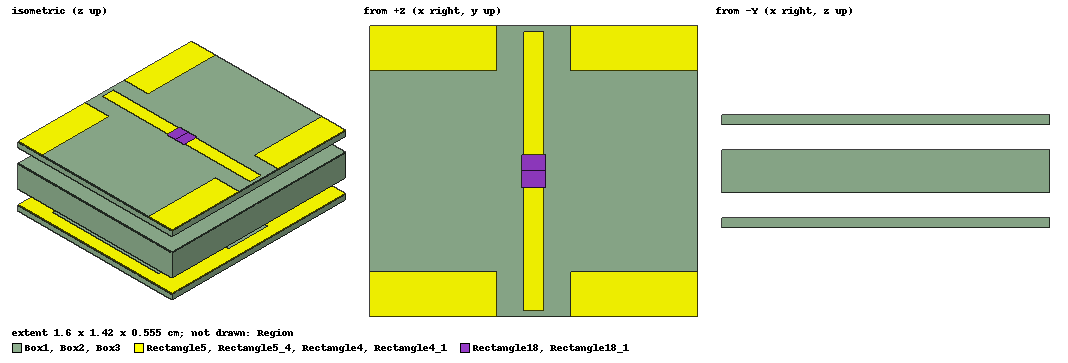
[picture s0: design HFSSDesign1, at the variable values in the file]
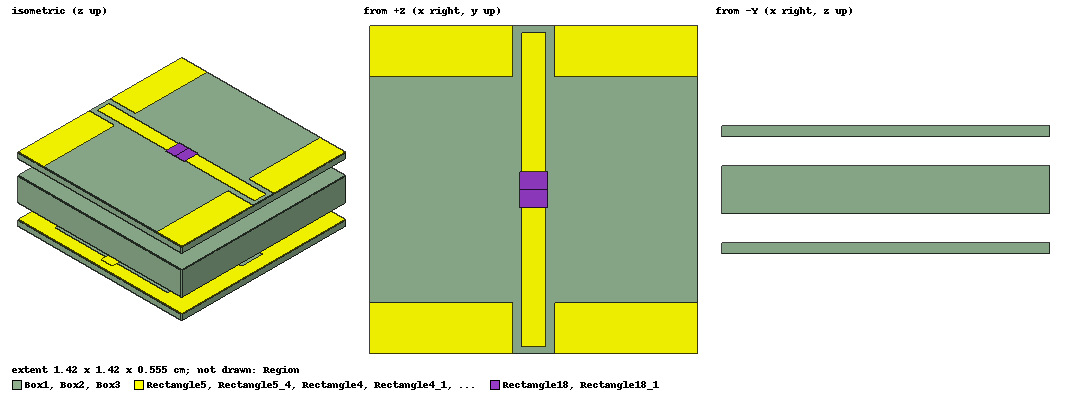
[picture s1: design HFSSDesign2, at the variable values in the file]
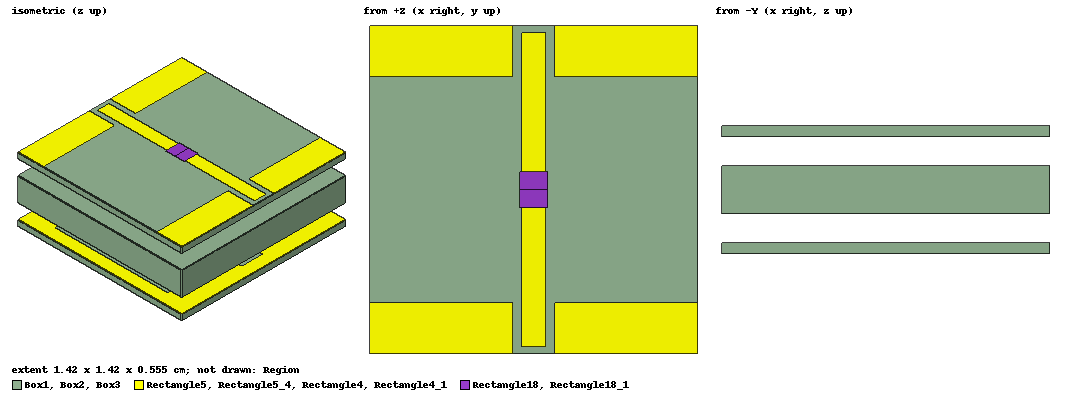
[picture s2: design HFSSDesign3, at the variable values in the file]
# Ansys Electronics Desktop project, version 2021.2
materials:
  vacuum: permittivity=1
  Arlon DiClad 880 (tm): permittivity=2.2 dielectric_loss_tangent=0.0009
  PTFT: permittivity=2.2 dielectric_loss_tangent=0.0019
  air: permittivity=1.0006 permeability=1.0000004
  F4B: permittivity=2.2 dielectric_loss_tangent=0.002

design HFSSDesign1 (HFSS, DrivenModal, model units cm)
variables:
  P_X = 16mm
  P_Y = 14.2mm
  MIDDLE_THICK = 2.05mm
  TOP_THICK = 0.5mm
  BOTTOM_THICK = 0.5mm
  PATCH_MIDDLE_X = 14mm
  PATCH_MIDDLE_Y = 10mm
  MIDDLE_GND = 0.2mm
  MIDDLE_RCL_LENGTH = 0.65mm
  MIDDLE_RCL_WIDTH = 0.6mm
  top_line_x = 1mm
  top_line_y = 6mm
  top_line_x1 = 6mm
  top_line_y1 = 1mm
  top_patch_x = 6.2mm
  top_patch_y = 2.2mm
  top_gnd = 1mm
  bottom_line_x = 1mm
  bottom_line_y = 6mm
  bottom_line_x1 = 6mm
  bottom_line_y1 = 1mm
  bottom_patch_x = 6.2mm
  bottom_patch_y = 2.2mm
  bottom_gnd = 1mm
  top_high = 1.25mm
  bottom_high = 1.25mm
  top_rcl_length = 1.6mm
  top_rcl_width = 1.2mm
  bottom_rcl_length = 1.6mm
  bottom_rcl_width = 1.2mm
  R_TOP = 1ohm
  L_TOP = 1.5nH
  C_TOP = 0pF
  R_MIDDLE = 0.7ohm
  L_MIDDLE = 1.61nH
  C_MIDDLE = 0pF
  R_BOTTOM = 1ohm
  L_BOTTOM = 1.5nH
  C_BOTTOM = 0pF
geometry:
  Box1 [F4B] = box(corner=(-P_X/2, -P_Y/2, -MIDDLE_THICK/2), size=(P_X, P_Y, MIDDLE_THICK))
  Box2 [F4B] = box(corner=(-P_X/2, -P_Y/2, MIDDLE_THICK/2+top_high), size=(P_X, P_Y, TOP_THICK))
  Box3 [F4B] = box(corner=(-P_X/2, -P_Y/2, -MIDDLE_THICK/2-bottom_high), size=(P_X, P_Y, -TOP_THICK))
  Rectangle1 = rectangle(corner=(-PATCH_MIDDLE_X/2, -PATCH_MIDDLE_Y/2, -MIDDLE_THICK/2), x_size=PATCH_MIDDLE_X, y_size=PATCH_MIDDLE_Y)
  Rectangle2 = rectangle(corner=(-P_X/2, -P_Y/2, -MIDDLE_THICK/2), x_size=P_X, y_size=P_Y)
  Rectangle3 = rectangle(corner=(-(P_X-MIDDLE_GND*2)/2, -(P_Y-MIDDLE_GND*2)/2, -MIDDLE_THICK/2), x_size=P_X-MIDDLE_GND*2, y_size=P_Y-MIDDLE_GND*2)
  Rectangle2.subtract(Rectangle3)
  Rectangle4 = rectangle(corner=(-top_line_x/2, top_rcl_length/2, MIDDLE_THICK/2+top_high+TOP_THICK), x_size=top_line_x, y_size=top_line_y)
  Rectangle4_1 = Rectangle4.duplicate_mirror(point=(0cm, 0cm, 0cm), normal=(0cm, -1cm, 0cm))
  Rectangle5 = rectangle(corner=(P_X/2-top_patch_x, P_Y/2-top_patch_y, MIDDLE_THICK/2+top_high+TOP_THICK), x_size=top_patch_x, y_size=top_patch_y)
  Rectangle5_1 = Rectangle5.duplicate_mirror(point=(0cm, 0cm, 0cm), normal=(0cm, -1cm, 0cm))
  Rectangle5_2 = Rectangle5.duplicate_mirror(point=(0cm, 0cm, 0cm), normal=(-1cm, 0cm, 0cm))
  Rectangle5_1_1 = Rectangle5_1.duplicate_mirror(point=(0cm, 0cm, 0cm), normal=(-1cm, 0cm, 0cm))
  Rectangle5.unite(Rectangle5_1, Rectangle5_1_1, Rectangle5_2)
  Rectangle5_3 = Rectangle5.duplicate_along_line(step=(0cm, 0cm, -0.05cm), total=2)
  Rectangle6 = rectangle(corner=(-P_X/2, -P_Y/2, MIDDLE_THICK/2+top_high), x_size=P_X, y_size=P_Y)
  Rectangle7 = rectangle(corner=(-(P_X-top_gnd*2)/2, -(P_Y-top_gnd*2)/2, MIDDLE_THICK/2+top_high), x_size=P_X-top_gnd*2, y_size=P_Y-top_gnd*2)
  Rectangle6.subtract(Rectangle7)
  Rectangle5_3.unite(Rectangle6)
  Rectangle8 = rectangle(corner=(0.5mm, -top_line_y1/2, MIDDLE_THICK/2+top_high), x_size=top_line_x1, y_size=top_line_y1)
  Rectangle8_1 = Rectangle8.duplicate_mirror(point=(0cm, 0cm, 0cm), normal=(-1cm, 0cm, 0cm))
  Rectangle9 = rectangle(corner=(0.5mm, -bottom_line_y1/2, -MIDDLE_THICK/2-bottom_high), x_size=bottom_line_x1, y_size=bottom_line_y1)
  Rectangle10 = rectangle(corner=(P_X/2-bottom_patch_x, P_Y/2-bottom_patch_y, -MIDDLE_THICK/2-bottom_high+BOTTOM_THICK), x_size=bottom_patch_x, y_size=bottom_patch_y)
  Rectangle5_5 = Rectangle10.duplicate_mirror(point=(0cm, 0cm, 0cm), normal=(0cm, -1cm, 0cm))
  Rectangle5_6 = Rectangle10.duplicate_mirror(point=(0cm, 0cm, 0cm), normal=(-1cm, 0cm, 0cm))
  Rectangle5_1_2 = Rectangle5_5.duplicate_mirror(point=(0cm, 0cm, 0cm), normal=(-1cm, 0cm, 0cm))
  Rectangle10.unite(Rectangle5_5, Rectangle5_1_2, Rectangle5_6)
  Rectangle5_4 = Rectangle10.duplicate_along_line(step=(0cm, 0cm, -0.05cm), total=2)
  Rectangle10.delete()
  Rectangle11 = rectangle(corner=(-P_X/2, -P_Y/2, -MIDDLE_THICK/2-bottom_high), x_size=P_X, y_size=P_Y)
  Rectangle12 = rectangle(corner=(-(P_X-bottom_gnd*2)/2, -(P_Y-bottom_gnd*2)/2, -MIDDLE_THICK/2-bottom_high), x_size=P_X-bottom_gnd*2, y_size=P_Y-bottom_gnd*2)
  Rectangle11.subtract(Rectangle12)
  Rectangle5_4.unite(Rectangle11)
  Rectangle13 = rectangle(corner=(P_X/2-bottom_patch_x, P_Y/2-bottom_patch_y, -MIDDLE_THICK/2-bottom_high-BOTTOM_THICK), x_size=bottom_patch_x, y_size=bottom_patch_y)
  Rectangle5_7 = Rectangle13.duplicate_mirror(point=(0cm, 0cm, 0cm), normal=(0cm, -1cm, 0cm))
  Rectangle5_8 = Rectangle13.duplicate_mirror(point=(0cm, 0cm, 0cm), normal=(-1cm, 0cm, 0cm))
  Rectangle5_1_3 = Rectangle5_7.duplicate_mirror(point=(0cm, 0cm, 0cm), normal=(-1cm, 0cm, 0cm))
  Rectangle13.unite(Rectangle5_7, Rectangle5_1_3, Rectangle5_8)
  Rectangle14 = rectangle(corner=(-bottom_line_x/2, bottom_rcl_length/2, -MIDDLE_THICK/2-bottom_high-BOTTOM_THICK), x_size=bottom_line_x, y_size=bottom_line_y)
  Rectangle14_1 = Rectangle14.duplicate_mirror(point=(0cm, 0cm, 0cm), normal=(0cm, -1cm, 0cm))
  Rectangle9_1 = Rectangle9.duplicate_mirror(point=(0cm, 0cm, 0cm), normal=(-1cm, 0cm, 0cm))
  Rectangle15 = rectangle(corner=(-MIDDLE_RCL_WIDTH/2, PATCH_MIDDLE_Y/2, -MIDDLE_THICK/2), x_size=MIDDLE_RCL_WIDTH, y_size=MIDDLE_RCL_LENGTH)
  Rectangle16 = rectangle(corner=(-MIDDLE_RCL_WIDTH/2, PATCH_MIDDLE_Y/2+MIDDLE_RCL_LENGTH, -MIDDLE_THICK/2), x_size=MIDDLE_RCL_WIDTH, y_size=P_Y/2-PATCH_MIDDLE_Y/2-MIDDLE_RCL_LENGTH-MIDDLE_GND)
  Rectangle17 = rectangle(corner=(-MIDDLE_RCL_WIDTH/2, -PATCH_MIDDLE_Y/2, -MIDDLE_THICK/2), x_size=MIDDLE_RCL_WIDTH, y_size=-MIDDLE_RCL_LENGTH)
  Rectangle16_1 = Rectangle16.duplicate_mirror(point=(0cm, 0cm, 0cm), normal=(0cm, -1cm, 0cm))
  Rectangle18 = rectangle(corner=(-top_rcl_width/2, 0cm, MIDDLE_THICK/2+top_high+TOP_THICK), x_size=top_rcl_width, y_size=top_rcl_length/2)
  Rectangle18_1 = Rectangle18.duplicate_mirror(point=(0cm, 0cm, 0cm), normal=(0cm, -1cm, 0cm))
  Rectangle18_2 = Rectangle18.duplicate_mirror(point=(0cm, 0cm, 0cm), normal=(0cm, 0cm, -1cm))
  Rectangle18_1_1 = Rectangle18_1.duplicate_mirror(point=(0cm, 0cm, 0cm), normal=(0cm, 0cm, -1cm))
  Region [vacuum] = region(absolute_offset: +X=0cm, -X=0cm, +Y=0cm, -Y=0cm, +Z=6cm, -Z=6cm)
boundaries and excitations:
  PerfE1: Perfect E Objects=[Rectangle14_1, Rectangle1, Rectangle2, Rectangle4, Rectangle4_1, Rectangle5, Rectangle5_3, Rectangle5_4, Rectangle8, Rectangle8_1, Rectangle9, Rectangle9_1, Rectangle13, Rectangle14]
  LumpRLC1: Lumped RLC Objects=Rectangle18_1 CurrentLine{middle of Rectangle18_1.edge(3 of 4) -> middle of Rectangle18_1.edge(1 of 4)} RLC_Type=Parallel Resistance=R_TOP Capacitance=C_TOP
  LumpRLC2: Lumped RLC Objects=Rectangle18 CurrentLine{middle of Rectangle18.edge(y at corner) -> middle of Rectangle18.edge(y opposite corner)} RLC_Type=Parallel Inductance=L_TOP
  LumpRLC3: Lumped RLC Objects=Rectangle18_1_1 CurrentLine{middle of Rectangle18_1_1.edge(3 of 4) -> middle of Rectangle18_1_1.edge(1 of 4)} RLC_Type=Parallel Resistance=R_BOTTOM Capacitance=C_BOTTOM
  LumpRLC4: Lumped RLC Objects=Rectangle18_2 CurrentLine{middle of Rectangle18_2.edge(1 of 4) -> middle of Rectangle18_2.edge(3 of 4)} RLC_Type=Parallel Inductance=L_BOTTOM
  LumpRLC5: Lumped RLC Objects=Rectangle15 CurrentLine{middle of Rectangle15.edge(y at corner) -> middle of Rectangle15.edge(y opposite corner)} RLC_Type=Serial Resistance=R_MIDDLE Inductance=L_MIDDLE Capacitance=C_MIDDLE
  LumpRLC6: Lumped RLC Objects=Rectangle17 CurrentLine{middle of Rectangle17.edge(y at corner) -> middle of Rectangle17.edge(y opposite corner)} RLC_Type=Serial Resistance=R_MIDDLE Inductance=L_MIDDLE Capacitance=C_MIDDLE
  PerfE2: Perfect E Objects=[Rectangle16, Rectangle16_1]
  Primary1: Primary Faces=Region.face(+y) CoordSysVector{Region.vertex(3 of 8) -> Region.vertex(2 of 8)} ReverseV
  Secondary1: Secondary Faces=Region.face(-y) CoordSysVector{Region.vertex(4 of 8) -> Region.vertex(1 of 8)} primary=Primary1 PhaseDelay=UseScanAngle Phi=0deg Theta=0deg
  Primary2: Primary Faces=Region.face(+x) CoordSysVector{Region.vertex(1 of 8) -> Region.vertex(2 of 8)}
  Secondary2: Secondary Faces=Region.face(-x) CoordSysVector{Region.vertex(4 of 8) -> Region.vertex(3 of 8)} ReverseV primary=Primary2 PhaseDelay=UseScanAngle Phi=0deg Theta=0deg
  FloquetPort1: Floquet Port Faces=Region.face(+z) NumModes=2 DeembedDist=6cm Modes{Mode1{CharImp=Zpi} Mode2{CharImp=Zpi}} PhaseDelay=UseScanAngle Phi=0deg Theta=0deg LatticeAVector{Region.vertex(4 of 8) -> Region.vertex(1 of 8)} LatticeBVector{Region.vertex(4 of 8) -> Region.vertex(3 of 8)} ModesList{Mode{ModeNumber=1 IndexM=0 IndexN=0 KC2=0 PropagationState=Propagating Attenuation=0 PolarizationState=TE AffectsRefinement} Mode{ModeNumber=2 IndexM=0 IndexN=0 KC2=0 PropagationState=Propagating Attenuation=0 PolarizationState=TM AffectsRefinement}}
  FloquetPort2: Floquet Port Faces=Region.face(-z) NumModes=2 DeembedDist=6cm Modes{Mode1{CharImp=Zpi} Mode2{CharImp=Zpi}} PhaseDelay=UseScanAngle Phi=0deg Theta=0deg LatticeAVector{Region.vertex(7 of 8) -> Region.vertex(6 of 8)} LatticeBVector{Region.vertex(7 of 8) -> Region.vertex(8 of 8)} ModesList{Mode{ModeNumber=1 IndexM=0 IndexN=0 KC2=0 PropagationState=Propagating Attenuation=0 PolarizationState=TE AffectsRefinement} Mode{ModeNumber=2 IndexM=0 IndexN=0 KC2=0 PropagationState=Propagating Attenuation=0 PolarizationState=TM AffectsRefinement}}
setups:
  Setup1: HfssDrivenAuto AutoSolverSetting=Balanced Type=Interpolating
    sweep Sweep: 1GHz to 10GHz step 0.02GHz;
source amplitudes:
  FloquetPort1:1: 1W 0deg
  FloquetPort1:2, FloquetPort2:1, FloquetPort2:2: 0W 0deg
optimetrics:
  ParametricSetup1: Parametric Sim._Setups=[Setup1]
    sweep R_TOP: 1ohm 3000ohm
    sweep C_TOP: 0pF 0.2pF
    sweep R_BOTTOM: 1ohm 3000ohm
    sweep C_BOTTOM: 0pF 0.2pF
    sweep R_MIDDLE: 0.7ohm 1.41ohm
    sweep L_MIDDLE: 1.61nH 1.39nH
    sweep C_MIDDLE: 0pF 0.41pF
    table edits: del(3000ohm, 0pF, 3000ohm, 0.2pF, 1.41ohm, 1.39nH, 0.41pF) del(3000ohm, 0pF, 3000ohm, 0.2pF, 1.41ohm, 1.39nH, 0pF) del(3000ohm, 0pF, 3000ohm, 0.2pF, 1.41ohm, 1.61nH, 0.41pF) del(3000ohm, 0pF, 3000ohm, 0.2pF, 1.41ohm, 1.61nH, 0pF) del(3000ohm, 0pF, 3000ohm, 0.2pF, 0.7ohm, 1.39nH, 0.41pF) del(3000ohm, 0pF, 3000ohm, 0.2pF, 0.7ohm, 1.39nH, 0pF) del(3000ohm, 0pF, 3000ohm, 0.2pF, 0.7ohm, 1.61nH, 0.41pF) del(3000ohm, 0pF, 3000ohm, 0.2pF, 0.7ohm, 1.61nH, 0pF) del(3000ohm, 0pF, 3000ohm, 0pF, 1.41ohm, 1.39nH, 0.41pF) del(3000ohm, 0pF, 3000ohm, 0pF, 1.41ohm, 1.39nH, 0pF) del(3000ohm, 0pF, 3000ohm, 0pF, 1.41ohm, 1.61nH, 0.41pF) del(3000ohm, 0pF, 3000ohm, 0pF, 1.41ohm, 1.61nH, 0pF) del(3000ohm, 0pF, 3000ohm, 0pF, 0.7ohm, 1.39nH, 0.41pF) del(3000ohm, 0pF, 3000ohm, 0pF, 0.7ohm, 1.39nH, 0pF) del(3000ohm, 0pF, 3000ohm, 0pF, 0.7ohm, 1.61nH, 0.41pF) del(3000ohm, 0pF, 3000ohm, 0pF, 0.7ohm, 1.61nH, 0pF) del(3000ohm, 0pF, 1ohm, 0.2pF, 1.41ohm, 1.39nH, 0.41pF) del(3000ohm, 0pF, 1ohm, 0.2pF, 1.41ohm, 1.39nH, 0pF) del(3000ohm, 0pF, 1ohm, 0.2pF, 1.41ohm, 1.61nH, 0.41pF) del(3000ohm, 0pF, 1ohm, 0.2pF, 1.41ohm, 1.61nH, 0pF) del(3000ohm, 0pF, 1ohm, 0.2pF, 0.7ohm, 1.39nH, 0.41pF) del(3000ohm, 0pF, 1ohm, 0.2pF, 0.7ohm, 1.39nH, 0pF) del(3000ohm, 0pF, 1ohm, 0.2pF, 0.7ohm, 1.61nH, 0.41pF) del(3000ohm, 0pF, 1ohm, 0.2pF, 0.7ohm, 1.61nH, 0pF) del(3000ohm, 0pF, 1ohm, 0pF, 1.41ohm, 1.39nH, 0.41pF) del(3000ohm, 0pF, 1ohm, 0pF, 1.41ohm, 1.39nH, 0pF) del(3000ohm, 0pF, 1ohm, 0pF, 1.41ohm, 1.61nH, 0.41pF) del(3000ohm, 0pF, 1ohm, 0pF, 1.41ohm, 1.61nH, 0pF) del(3000ohm, 0pF, 1ohm, 0pF, 0.7ohm, 1.39nH, 0.41pF) del(3000ohm, 0pF, 1ohm, 0pF, 0.7ohm, 1.39nH, 0pF) del(3000ohm, 0pF, 1ohm, 0pF, 0.7ohm, 1.61nH, 0.41pF) del(3000ohm, 0pF, 1ohm, 0pF, 0.7ohm, 1.61nH, 0pF) del(1ohm, 0.2pF, 3000ohm, 0.2pF, 1.41ohm, 1.39nH, 0.41pF) del(1ohm, 0.2pF, 3000ohm, 0.2pF, 1.41ohm, 1.39nH, 0pF) del(1ohm, 0.2pF, 3000ohm, 0.2pF, 1.41ohm, 1.61nH, 0.41pF) del(1ohm, 0.2pF, 3000ohm, 0.2pF, 1.41ohm, 1.61nH, 0pF) del(1ohm, 0.2pF, 3000ohm, 0.2pF, 0.7ohm, 1.39nH, 0.41pF) del(1ohm, 0.2pF, 3000ohm, 0.2pF, 0.7ohm, 1.39nH, 0pF) del(1ohm, 0.2pF, 3000ohm, 0.2pF, 0.7ohm, 1.61nH, 0.41pF) del(1ohm, 0.2pF, 3000ohm, 0.2pF, 0.7ohm, 1.61nH, 0pF) del(1ohm, 0.2pF, 3000ohm, 0pF, 1.41ohm, 1.39nH, 0.41pF) del(1ohm, 0.2pF, 3000ohm, 0pF, 1.41ohm, 1.39nH, 0pF) del(1ohm, 0.2pF, 3000ohm, 0pF, 1.41ohm, 1.61nH, 0.41pF) del(1ohm, 0.2pF, 3000ohm, 0pF, 1.41ohm, 1.61nH, 0pF) del(1ohm, 0.2pF, 3000ohm, 0pF, 0.7ohm, 1.39nH, 0.41pF) del(1ohm, 0.2pF, 3000ohm, 0pF, 0.7ohm, 1.39nH, 0pF) del(1ohm, 0.2pF, 3000ohm, 0pF, 0.7ohm, 1.61nH, 0.41pF) del(1ohm, 0.2pF, 3000ohm, 0pF, 0.7ohm, 1.61nH, 0pF) del(1ohm, 0.2pF, 1ohm, 0.2pF, 1.41ohm, 1.39nH, 0.41pF) del(1ohm, 0.2pF, 1ohm, 0.2pF, 1.41ohm, 1.39nH, 0pF) del(1ohm, 0.2pF, 1ohm, 0.2pF, 1.41ohm, 1.61nH, 0.41pF) del(1ohm, 0.2pF, 1ohm, 0.2pF, 1.41ohm, 1.61nH, 0pF) del(1ohm, 0.2pF, 1ohm, 0.2pF, 0.7ohm, 1.39nH, 0.41pF) del(1ohm, 0.2pF, 1ohm, 0.2pF, 0.7ohm, 1.39nH, 0pF) del(1ohm, 0.2pF, 1ohm, 0.2pF, 0.7ohm, 1.61nH, 0.41pF) del(1ohm, 0.2pF, 1ohm, 0.2pF, 0.7ohm, 1.61nH, 0pF) del(1ohm, 0.2pF, 1ohm, 0pF, 1.41ohm, 1.39nH, 0.41pF) del(1ohm, 0.2pF, 1ohm, 0pF, 1.41ohm, 1.39nH, 0pF) del(1ohm, 0.2pF, 1ohm, 0pF, 1.41ohm, 1.61nH, 0.41pF) del(1ohm, 0.2pF, 1ohm, 0pF, 1.41ohm, 1.61nH, 0pF)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
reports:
  S Parameter Plot 1: mag(S(FloquetPort1:1,FloquetPort2:1)) vs Freq on Setup1 : Sweep; markers MX1 at x=7.2987013e+08
  S Parameter Plot 2: ang_deg(S(FloquetPort1:1,FloquetPort2:1)) vs Freq on Setup1 : Sweep; markers MX1 at x=5.7995611e+09
  S Parameter Plot 3: mag(S(FloquetPort1:1,FloquetPort1:1)) vs Freq on Setup1 : Sweep; markers MX1 at x=5.8017916e+09
  S Parameter Plot 4: ang_deg(S(FloquetPort1:1,FloquetPort1:1)) vs Freq on Setup1 : Sweep
  S Parameter Plot 5: ang_deg(S(FloquetPort1:1,FloquetPort1:1)) vs Freq on Setup1 : Sweep
  S Parameter Plot 6: ang_deg(S(FloquetPort1:1,FloquetPort1:1)) vs Freq on Setup1 : Sweep

design HFSSDesign2 (HFSS, DrivenModal, model units cm)
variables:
  P_X = 14.2mm
  P_Y = 14.2mm
  MIDDLE_THICK = 2.05mm
  TOP_THICK = 0.5mm
  BOTTOM_THICK = 0.5mm
  PATCH_MIDDLE_X = 12mm
  PATCH_MIDDLE_Y = 10mm
  MIDDLE_GND = 0.2mm
  MIDDLE_RCL_LENGTH = 0.65mm
  MIDDLE_RCL_WIDTH = 0.6mm
  top_line_x = 1mm
  top_line_y = 6mm
  top_line_x1 = 6mm
  top_line_y1 = 1mm
  top_patch_x = 6.2mm
  top_patch_y = 2.2mm
  top_gnd = 1mm
  bottom_line_x = 1mm
  bottom_line_y = 6mm
  bottom_line_x1 = 6mm
  bottom_line_y1 = 1mm
  bottom_patch_x = 6.2mm
  bottom_patch_y = 2.2mm
  bottom_gnd = 1mm
  top_high = 1.25mm
  bottom_high = 1.25mm
  top_rcl_length = 1.6mm
  top_rcl_width = 1.2mm
  bottom_rcl_length = 1.6mm
  bottom_rcl_width = 1.2mm
  R_TOP = 1ohm
  L_TOP = 1.5nH
  C_TOP = 0pF
  R_MIDDLE = 0.7ohm
  L_MIDDLE = 1.61nH
  C_MIDDLE = 0pF
  R_BOTTOM = 1ohm
  L_BOTTOM = 1.5nH
  C_BOTTOM = 0pF
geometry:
  Box1 [F4B] = box(corner=(-P_X/2, -P_Y/2, -MIDDLE_THICK/2), size=(P_X, P_Y, MIDDLE_THICK))
  Box2 [F4B] = box(corner=(-P_X/2, -P_Y/2, MIDDLE_THICK/2+top_high), size=(P_X, P_Y, TOP_THICK))
  Box3 [F4B] = box(corner=(-P_X/2, -P_Y/2, -MIDDLE_THICK/2-bottom_high), size=(P_X, P_Y, -TOP_THICK))
  Rectangle1 = rectangle(corner=(-PATCH_MIDDLE_X/2, -PATCH_MIDDLE_Y/2, -MIDDLE_THICK/2), x_size=PATCH_MIDDLE_X, y_size=PATCH_MIDDLE_Y)
  Rectangle2 = rectangle(corner=(-P_X/2, -P_Y/2, -MIDDLE_THICK/2), x_size=P_X, y_size=P_Y)
  Rectangle3 = rectangle(corner=(-(P_X-MIDDLE_GND*2)/2, -(P_Y-MIDDLE_GND*2)/2, -MIDDLE_THICK/2), x_size=P_X-MIDDLE_GND*2, y_size=P_Y-MIDDLE_GND*2)
  Rectangle2.subtract(Rectangle3)
  Rectangle4 = rectangle(corner=(-top_line_x/2, top_rcl_length/2, MIDDLE_THICK/2+top_high+TOP_THICK), x_size=top_line_x, y_size=top_line_y)
  Rectangle4_1 = Rectangle4.duplicate_mirror(point=(0cm, 0cm, 0cm), normal=(0cm, -1cm, 0cm))
  Rectangle5 = rectangle(corner=(P_X/2-top_patch_x, P_Y/2-top_patch_y, MIDDLE_THICK/2+top_high+TOP_THICK), x_size=top_patch_x, y_size=top_patch_y)
  Rectangle5_1 = Rectangle5.duplicate_mirror(point=(0cm, 0cm, 0cm), normal=(0cm, -1cm, 0cm))
  Rectangle5_2 = Rectangle5.duplicate_mirror(point=(0cm, 0cm, 0cm), normal=(-1cm, 0cm, 0cm))
  Rectangle5_1_1 = Rectangle5_1.duplicate_mirror(point=(0cm, 0cm, 0cm), normal=(-1cm, 0cm, 0cm))
  Rectangle5.unite(Rectangle5_1, Rectangle5_1_1, Rectangle5_2)
  Rectangle5_3 = Rectangle5.duplicate_along_line(step=(0cm, 0cm, -0.05cm), total=2)
  Rectangle6 = rectangle(corner=(-P_X/2, -P_Y/2, MIDDLE_THICK/2+top_high), x_size=P_X, y_size=P_Y)
  Rectangle7 = rectangle(corner=(-(P_X-top_gnd*2)/2, -(P_Y-top_gnd*2)/2, MIDDLE_THICK/2+top_high), x_size=P_X-top_gnd*2, y_size=P_Y-top_gnd*2)
  Rectangle6.subtract(Rectangle7)
  Rectangle5_3.unite(Rectangle6)
  Rectangle8 = rectangle(corner=(0.5mm, -top_line_y1/2, MIDDLE_THICK/2+top_high), x_size=top_line_x1, y_size=top_line_y1)
  Rectangle8_1 = Rectangle8.duplicate_mirror(point=(0cm, 0cm, 0cm), normal=(-1cm, 0cm, 0cm))
  Rectangle9 = rectangle(corner=(0.5mm, -bottom_line_y1/2, -MIDDLE_THICK/2-bottom_high), x_size=bottom_line_x1, y_size=bottom_line_y1)
  Rectangle10 = rectangle(corner=(P_X/2-bottom_patch_x, P_Y/2-bottom_patch_y, -MIDDLE_THICK/2-bottom_high+BOTTOM_THICK), x_size=bottom_patch_x, y_size=bottom_patch_y)
  Rectangle5_5 = Rectangle10.duplicate_mirror(point=(0cm, 0cm, 0cm), normal=(0cm, -1cm, 0cm))
  Rectangle5_6 = Rectangle10.duplicate_mirror(point=(0cm, 0cm, 0cm), normal=(-1cm, 0cm, 0cm))
  Rectangle5_1_2 = Rectangle5_5.duplicate_mirror(point=(0cm, 0cm, 0cm), normal=(-1cm, 0cm, 0cm))
  Rectangle10.unite(Rectangle5_5, Rectangle5_1_2, Rectangle5_6)
  Rectangle5_4 = Rectangle10.duplicate_along_line(step=(0cm, 0cm, -0.05cm), total=2)
  Rectangle10.delete()
  Rectangle11 = rectangle(corner=(-P_X/2, -P_Y/2, -MIDDLE_THICK/2-bottom_high), x_size=P_X, y_size=P_Y)
  Rectangle12 = rectangle(corner=(-(P_X-bottom_gnd*2)/2, -(P_Y-bottom_gnd*2)/2, -MIDDLE_THICK/2-bottom_high), x_size=P_X-bottom_gnd*2, y_size=P_Y-bottom_gnd*2)
  Rectangle11.subtract(Rectangle12)
  Rectangle5_4.unite(Rectangle11)
  Rectangle13 = rectangle(corner=(P_X/2-bottom_patch_x, P_Y/2-bottom_patch_y, -MIDDLE_THICK/2-bottom_high-BOTTOM_THICK), x_size=bottom_patch_x, y_size=bottom_patch_y)
  Rectangle5_7 = Rectangle13.duplicate_mirror(point=(0cm, 0cm, 0cm), normal=(0cm, -1cm, 0cm))
  Rectangle5_8 = Rectangle13.duplicate_mirror(point=(0cm, 0cm, 0cm), normal=(-1cm, 0cm, 0cm))
  Rectangle5_1_3 = Rectangle5_7.duplicate_mirror(point=(0cm, 0cm, 0cm), normal=(-1cm, 0cm, 0cm))
  Rectangle13.unite(Rectangle5_7, Rectangle5_1_3, Rectangle5_8)
  Rectangle14 = rectangle(corner=(-bottom_line_x/2, bottom_rcl_length/2, -MIDDLE_THICK/2-bottom_high-BOTTOM_THICK), x_size=bottom_line_x, y_size=bottom_line_y)
  Rectangle14_1 = Rectangle14.duplicate_mirror(point=(0cm, 0cm, 0cm), normal=(0cm, -1cm, 0cm))
  Rectangle9_1 = Rectangle9.duplicate_mirror(point=(0cm, 0cm, 0cm), normal=(-1cm, 0cm, 0cm))
  Rectangle15 = rectangle(corner=(-MIDDLE_RCL_WIDTH/2, PATCH_MIDDLE_Y/2, -MIDDLE_THICK/2), x_size=MIDDLE_RCL_WIDTH, y_size=MIDDLE_RCL_LENGTH)
  Rectangle16 = rectangle(corner=(-MIDDLE_RCL_WIDTH/2, PATCH_MIDDLE_Y/2+MIDDLE_RCL_LENGTH, -MIDDLE_THICK/2), x_size=MIDDLE_RCL_WIDTH, y_size=P_Y/2-PATCH_MIDDLE_Y/2-MIDDLE_RCL_LENGTH-MIDDLE_GND)
  Rectangle17 = rectangle(corner=(-MIDDLE_RCL_WIDTH/2, -PATCH_MIDDLE_Y/2, -MIDDLE_THICK/2), x_size=MIDDLE_RCL_WIDTH, y_size=-MIDDLE_RCL_LENGTH)
  Rectangle16_1 = Rectangle16.duplicate_mirror(point=(0cm, 0cm, 0cm), normal=(0cm, -1cm, 0cm))
  Rectangle18 = rectangle(corner=(-top_rcl_width/2, 0cm, MIDDLE_THICK/2+top_high+TOP_THICK), x_size=top_rcl_width, y_size=top_rcl_length/2)
  Rectangle18_1 = Rectangle18.duplicate_mirror(point=(0cm, 0cm, 0cm), normal=(0cm, -1cm, 0cm))
  Rectangle18_2 = Rectangle18.duplicate_mirror(point=(0cm, 0cm, 0cm), normal=(0cm, 0cm, -1cm))
  Rectangle18_1_1 = Rectangle18_1.duplicate_mirror(point=(0cm, 0cm, 0cm), normal=(0cm, 0cm, -1cm))
  Region [vacuum] = region(absolute_offset: +X=0cm, -X=0cm, +Y=0cm, -Y=0cm, +Z=6cm, -Z=6cm)
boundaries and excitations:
  PerfE1: Perfect E Objects=[Rectangle14_1, Rectangle1, Rectangle2, Rectangle4, Rectangle4_1, Rectangle5, Rectangle5_3, Rectangle5_4, Rectangle8, Rectangle8_1, Rectangle9, Rectangle9_1, Rectangle13, Rectangle14]
  LumpRLC1: Lumped RLC Objects=Rectangle18_1 CurrentLine{middle of Rectangle18_1.edge(3 of 4) -> middle of Rectangle18_1.edge(1 of 4)} RLC_Type=Parallel Resistance=R_TOP Capacitance=C_TOP
  LumpRLC2: Lumped RLC Objects=Rectangle18 CurrentLine{middle of Rectangle18.edge(y at corner) -> middle of Rectangle18.edge(y opposite corner)} RLC_Type=Parallel Inductance=L_TOP
  LumpRLC3: Lumped RLC Objects=Rectangle18_1_1 CurrentLine{middle of Rectangle18_1_1.edge(3 of 4) -> middle of Rectangle18_1_1.edge(1 of 4)} RLC_Type=Parallel Resistance=R_BOTTOM Capacitance=C_BOTTOM
  LumpRLC4: Lumped RLC Objects=Rectangle18_2 CurrentLine{middle of Rectangle18_2.edge(1 of 4) -> middle of Rectangle18_2.edge(3 of 4)} RLC_Type=Parallel Inductance=L_BOTTOM
  LumpRLC5: Lumped RLC Objects=Rectangle15 CurrentLine{middle of Rectangle15.edge(y at corner) -> middle of Rectangle15.edge(y opposite corner)} RLC_Type=Serial Resistance=R_MIDDLE Inductance=L_MIDDLE Capacitance=C_MIDDLE
  LumpRLC6: Lumped RLC Objects=Rectangle17 CurrentLine{middle of Rectangle17.edge(y at corner) -> middle of Rectangle17.edge(y opposite corner)} RLC_Type=Serial Resistance=R_MIDDLE Inductance=L_MIDDLE Capacitance=C_MIDDLE
  PerfE2: Perfect E Objects=[Rectangle16, Rectangle16_1]
  Primary1: Primary Faces=Region.face(+y) CoordSysVector{Region.vertex(3 of 8) -> Region.vertex(2 of 8)} ReverseV
  Secondary1: Secondary Faces=Region.face(-y) CoordSysVector{Region.vertex(4 of 8) -> Region.vertex(1 of 8)} primary=Primary1 PhaseDelay=UseScanAngle Phi=0deg Theta=0deg
  Primary2: Primary Faces=Region.face(+x) CoordSysVector{Region.vertex(1 of 8) -> Region.vertex(2 of 8)}
  Secondary2: Secondary Faces=Region.face(-x) CoordSysVector{Region.vertex(4 of 8) -> Region.vertex(3 of 8)} ReverseV primary=Primary2 PhaseDelay=UseScanAngle Phi=0deg Theta=0deg
  FloquetPort1: Floquet Port Faces=Region.face(+z) NumModes=2 DeembedDist=6cm Modes{Mode1{CharImp=Zpi} Mode2{CharImp=Zpi}} PhaseDelay=UseScanAngle Phi=0deg Theta=0deg LatticeAVector{Region.vertex(4 of 8) -> Region.vertex(1 of 8)} LatticeBVector{Region.vertex(4 of 8) -> Region.vertex(3 of 8)} ModesList{Mode{ModeNumber=1 IndexM=0 IndexN=0 KC2=0 PropagationState=Propagating Attenuation=0 PolarizationState=TE AffectsRefinement} Mode{ModeNumber=2 IndexM=0 IndexN=0 KC2=0 PropagationState=Propagating Attenuation=0 PolarizationState=TM AffectsRefinement}}
  FloquetPort2: Floquet Port Faces=Region.face(-z) NumModes=2 DeembedDist=6cm Modes{Mode1{CharImp=Zpi} Mode2{CharImp=Zpi}} PhaseDelay=UseScanAngle Phi=0deg Theta=0deg LatticeAVector{Region.vertex(7 of 8) -> Region.vertex(6 of 8)} LatticeBVector{Region.vertex(7 of 8) -> Region.vertex(8 of 8)} ModesList{Mode{ModeNumber=1 IndexM=0 IndexN=0 KC2=0 PropagationState=Propagating Attenuation=0 PolarizationState=TE AffectsRefinement} Mode{ModeNumber=2 IndexM=0 IndexN=0 KC2=0 PropagationState=Propagating Attenuation=0 PolarizationState=TM AffectsRefinement}}
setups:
  Setup1: HfssDrivenAuto AutoSolverSetting=Balanced Type=Interpolating
    sweep Sweep: 1GHz to 10GHz step 0.02GHz;
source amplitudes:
  FloquetPort1:1: 1W 0deg
  FloquetPort1:2, FloquetPort2:1, FloquetPort2:2: 0W 0deg
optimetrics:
  ParametricSetup1: Parametric Sim._Setups=[Setup1]
    sweep R_MIDDLE: 0.7ohm 1.41ohm
    sweep L_MIDDLE: 1.61nH 1.39nH
    sweep C_MIDDLE: 0pF 0.41pF
    sweep R_TOP: 1ohm 3000ohm
    sweep C_TOP: 0pF 0.2pF
    sweep R_BOTTOM: 1ohm 3000ohm
    sweep C_BOTTOM: 0pF 0.2pF
    table edits: del(1.41ohm, 1.61nH, 0.41pF, 3000ohm, 0.2pF, 3000ohm, 0.2pF) del(1.41ohm, 1.61nH, 0.41pF, 3000ohm, 0.2pF, 3000ohm, 0pF) del(1.41ohm, 1.61nH, 0.41pF, 3000ohm, 0.2pF, 1ohm, 0.2pF) del(1.41ohm, 1.61nH, 0.41pF, 3000ohm, 0.2pF, 1ohm, 0pF) del(1.41ohm, 1.61nH, 0.41pF, 3000ohm, 0pF, 3000ohm, 0.2pF) del(1.41ohm, 1.61nH, 0.41pF, 3000ohm, 0pF, 3000ohm, 0pF) del(1.41ohm, 1.61nH, 0.41pF, 3000ohm, 0pF, 1ohm, 0.2pF) del(1.41ohm, 1.61nH, 0.41pF, 3000ohm, 0pF, 1ohm, 0pF) del(1.41ohm, 1.61nH, 0.41pF, 1ohm, 0.2pF, 3000ohm, 0.2pF) del(1.41ohm, 1.61nH, 0.41pF, 1ohm, 0.2pF, 3000ohm, 0pF) del(1.41ohm, 1.61nH, 0.41pF, 1ohm, 0.2pF, 1ohm, 0.2pF) del(1.41ohm, 1.61nH, 0.41pF, 1ohm, 0.2pF, 1ohm, 0pF) del(1.41ohm, 1.61nH, 0.41pF, 1ohm, 0pF, 3000ohm, 0.2pF) del(1.41ohm, 1.61nH, 0.41pF, 1ohm, 0pF, 3000ohm, 0pF) del(1.41ohm, 1.61nH, 0.41pF, 1ohm, 0pF, 1ohm, 0.2pF) del(1.41ohm, 1.61nH, 0.41pF, 1ohm, 0pF, 1ohm, 0pF) del(1.41ohm, 1.61nH, 0pF, 3000ohm, 0.2pF, 3000ohm, 0.2pF) del(1.41ohm, 1.61nH, 0pF, 3000ohm, 0.2pF, 3000ohm, 0pF) del(1.41ohm, 1.61nH, 0pF, 3000ohm, 0.2pF, 1ohm, 0.2pF) del(1.41ohm, 1.61nH, 0pF, 3000ohm, 0.2pF, 1ohm, 0pF) del(1.41ohm, 1.61nH, 0pF, 3000ohm, 0pF, 3000ohm, 0.2pF) del(1.41ohm, 1.61nH, 0pF, 3000ohm, 0pF, 3000ohm, 0pF) del(1.41ohm, 1.61nH, 0pF, 3000ohm, 0pF, 1ohm, 0.2pF) del(1.41ohm, 1.61nH, 0pF, 3000ohm, 0pF, 1ohm, 0pF) del(1.41ohm, 1.61nH, 0pF, 1ohm, 0.2pF, 3000ohm, 0.2pF) del(1.41ohm, 1.61nH, 0pF, 1ohm, 0.2pF, 3000ohm, 0pF) del(1.41ohm, 1.61nH, 0pF, 1ohm, 0.2pF, 1ohm, 0.2pF) del(1.41ohm, 1.61nH, 0pF, 1ohm, 0.2pF, 1ohm, 0pF) del(1.41ohm, 1.61nH, 0pF, 1ohm, 0pF, 3000ohm, 0.2pF) del(1.41ohm, 1.61nH, 0pF, 1ohm, 0pF, 3000ohm, 0pF) del(1.41ohm, 1.61nH, 0pF, 1ohm, 0pF, 1ohm, 0.2pF) del(1.41ohm, 1.61nH, 0pF, 1ohm, 0pF, 1ohm, 0pF) del(0.7ohm, 1.39nH, 0.41pF, 3000ohm, 0.2pF, 3000ohm, 0.2pF) del(0.7ohm, 1.39nH, 0.41pF, 3000ohm, 0.2pF, 3000ohm, 0pF) del(0.7ohm, 1.39nH, 0.41pF, 3000ohm, 0.2pF, 1ohm, 0.2pF) del(0.7ohm, 1.39nH, 0.41pF, 3000ohm, 0.2pF, 1ohm, 0pF) del(0.7ohm, 1.39nH, 0.41pF, 3000ohm, 0pF, 3000ohm, 0.2pF) del(0.7ohm, 1.39nH, 0.41pF, 3000ohm, 0pF, 3000ohm, 0pF) del(0.7ohm, 1.39nH, 0.41pF, 3000ohm, 0pF, 1ohm, 0.2pF) del(0.7ohm, 1.39nH, 0.41pF, 3000ohm, 0pF, 1ohm, 0pF) del(0.7ohm, 1.39nH, 0.41pF, 1ohm, 0.2pF, 3000ohm, 0.2pF) del(0.7ohm, 1.39nH, 0.41pF, 1ohm, 0.2pF, 3000ohm, 0pF) del(0.7ohm, 1.39nH, 0.41pF, 1ohm, 0.2pF, 1ohm, 0.2pF) del(0.7ohm, 1.39nH, 0.41pF, 1ohm, 0.2pF, 1ohm, 0pF) del(0.7ohm, 1.39nH, 0.41pF, 1ohm, 0pF, 3000ohm, 0.2pF) del(0.7ohm, 1.39nH, 0.41pF, 1ohm, 0pF, 3000ohm, 0pF) del(0.7ohm, 1.39nH, 0.41pF, 1ohm, 0pF, 1ohm, 0.2pF) del(0.7ohm, 1.39nH, 0.41pF, 1ohm, 0pF, 1ohm, 0pF) del(0.7ohm, 1.39nH, 0pF, 3000ohm, 0.2pF, 3000ohm, 0.2pF) del(0.7ohm, 1.39nH, 0pF, 3000ohm, 0.2pF, 3000ohm, 0pF) del(0.7ohm, 1.39nH, 0pF, 3000ohm, 0.2pF, 1ohm, 0.2pF) del(0.7ohm, 1.39nH, 0pF, 3000ohm, 0.2pF, 1ohm, 0pF) del(0.7ohm, 1.39nH, 0pF, 3000ohm, 0pF, 3000ohm, 0.2pF) del(0.7ohm, 1.39nH, 0pF, 3000ohm, 0pF, 3000ohm, 0pF) del(0.7ohm, 1.39nH, 0pF, 3000ohm, 0pF, 1ohm, 0.2pF) del(0.7ohm, 1.39nH, 0pF, 3000ohm, 0pF, 1ohm, 0pF) del(0.7ohm, 1.39nH, 0pF, 1ohm, 0.2pF, 3000ohm, 0.2pF) del(0.7ohm, 1.39nH, 0pF, 1ohm, 0.2pF, 3000ohm, 0pF) del(0.7ohm, 1.39nH, 0pF, 1ohm, 0.2pF, 1ohm, 0.2pF) del(0.7ohm, 1.39nH, 0pF, 1ohm, 0.2pF, 1ohm, 0pF)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
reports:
  S Parameter Plot 1: mag(S(FloquetPort1:1,FloquetPort2:1)) vs Freq on Setup1 : Sweep; markers MX1 at x=5.0028881e+09
  S Parameter Plot 2: ang_deg(S(FloquetPort1:1,FloquetPort2:1)) vs Freq on Setup1 : Sweep; markers MX1 at x=5.44e+09
  S Parameter Plot 3: mag(S(FloquetPort1:1,FloquetPort1:1)) vs Freq on Setup1 : Sweep; markers MX1 at x=5.44e+09
  S Parameter Plot 4: ang_deg(S(FloquetPort1:1,FloquetPort1:1)) vs Freq on Setup1 : Sweep; markers MX1 at x=5.443038e+09
  S Parameter Plot 5: mag(S(FloquetPort1:1,FloquetPort1:1)) vs Freq on Setup1 : Sweep [R_TOP=all C_TOP=all R_MIDDLE=all L_MIDDLE=all C_MIDDLE=all R_BOTTOM=all C_BOTTOM=all]
  S Parameter Plot 6: ang_deg(S(FloquetPort1:1,FloquetPort1:1)) vs Freq on Setup1 : Sweep [R_TOP=all C_TOP=all R_MIDDLE=all L_MIDDLE=all C_MIDDLE=all R_BOTTOM=all C_BOTTOM=all]
  S Parameter Plot 7: mag(S(FloquetPort1:1,FloquetPort2:1)) vs Freq on Setup1 : Sweep [R_TOP=all C_TOP=all R_MIDDLE=all L_MIDDLE=all C_MIDDLE=all R_BOTTOM=all C_BOTTOM=all]
  S Parameter Plot 8: ang_deg(S(FloquetPort1:1,FloquetPort2:1)) vs Freq on Setup1 : Sweep [R_TOP=all C_TOP=all R_MIDDLE=all L_MIDDLE=all C_MIDDLE=all R_BOTTOM=all C_BOTTOM=all]

design HFSSDesign3 (HFSS, DrivenModal, model units cm)
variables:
  P_X = 14.2mm
  P_Y = 14.2mm
  MIDDLE_THICK = 2.05mm
  TOP_THICK = 0.5mm
  BOTTOM_THICK = 0.5mm
  PATCH_MIDDLE_X = 12mm
  PATCH_MIDDLE_Y = 10mm
  MIDDLE_GND = 0.2mm
  MIDDLE_RCL_LENGTH = 0.65mm
  MIDDLE_RCL_WIDTH = 0.6mm
  top_line_x = 1mm
  top_line_y = 6mm
  top_line_x1 = 5mm
  top_line_y1 = 1mm
  top_patch_x = 6.2mm
  top_patch_y = 2.2mm
  top_gnd = 1mm
  bottom_line_x = 1mm
  bottom_line_y = 6mm
  bottom_line_x1 = 5mm
  bottom_line_y1 = 1mm
  bottom_patch_x = 6.2mm
  bottom_patch_y = 2.2mm
  bottom_gnd = 1mm
  top_high = 1.25mm
  bottom_high = 1.25mm
  top_rcl_length = 1.6mm
  top_rcl_width = 1.2mm
  bottom_rcl_length = 1.6mm
  bottom_rcl_width = 1.2mm
  R_TOP = 1ohm
  L_TOP = 1.5nH
  C_TOP = 0pF
  R_MIDDLE = 0.7ohm
  L_MIDDLE = 1.61nH
  C_MIDDLE = 0pF
  R_BOTTOM = 1ohm
  L_BOTTOM = 1.5nH
  C_BOTTOM = 0pF
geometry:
  Box1 [F4B] = box(corner=(-P_X/2, -P_Y/2, -MIDDLE_THICK/2), size=(P_X, P_Y, MIDDLE_THICK))
  Box2 [F4B] = box(corner=(-P_X/2, -P_Y/2, MIDDLE_THICK/2+top_high), size=(P_X, P_Y, TOP_THICK))
  Box3 [F4B] = box(corner=(-P_X/2, -P_Y/2, -MIDDLE_THICK/2-bottom_high), size=(P_X, P_Y, -TOP_THICK))
  Rectangle1 = rectangle(corner=(-PATCH_MIDDLE_X/2, -PATCH_MIDDLE_Y/2, -MIDDLE_THICK/2), x_size=PATCH_MIDDLE_X, y_size=PATCH_MIDDLE_Y)
  Rectangle2 = rectangle(corner=(-P_X/2, -P_Y/2, -MIDDLE_THICK/2), x_size=P_X, y_size=P_Y)
  Rectangle3 = rectangle(corner=(-(P_X-MIDDLE_GND*2)/2, -(P_Y-MIDDLE_GND*2)/2, -MIDDLE_THICK/2), x_size=P_X-MIDDLE_GND*2, y_size=P_Y-MIDDLE_GND*2)
  Rectangle2.subtract(Rectangle3)
  Rectangle4 = rectangle(corner=(-top_line_x/2, top_rcl_length/2, MIDDLE_THICK/2+top_high+TOP_THICK), x_size=top_line_x, y_size=top_line_y)
  Rectangle4_1 = Rectangle4.duplicate_mirror(point=(0cm, 0cm, 0cm), normal=(0cm, -1cm, 0cm))
  Rectangle5 = rectangle(corner=(P_X/2-top_patch_x, P_Y/2-top_patch_y, MIDDLE_THICK/2+top_high+TOP_THICK), x_size=top_patch_x, y_size=top_patch_y)
  Rectangle5_1 = Rectangle5.duplicate_mirror(point=(0cm, 0cm, 0cm), normal=(0cm, -1cm, 0cm))
  Rectangle5_2 = Rectangle5.duplicate_mirror(point=(0cm, 0cm, 0cm), normal=(-1cm, 0cm, 0cm))
  Rectangle5_1_1 = Rectangle5_1.duplicate_mirror(point=(0cm, 0cm, 0cm), normal=(-1cm, 0cm, 0cm))
  Rectangle5.unite(Rectangle5_1, Rectangle5_1_1, Rectangle5_2)
  Rectangle5_3 = Rectangle5.duplicate_along_line(step=(0cm, 0cm, -0.05cm), total=2)
  Rectangle6 = rectangle(corner=(-P_X/2, -P_Y/2, MIDDLE_THICK/2+top_high), x_size=P_X, y_size=P_Y)
  Rectangle7 = rectangle(corner=(-(P_X-top_gnd*2)/2, -(P_Y-top_gnd*2)/2, MIDDLE_THICK/2+top_high), x_size=P_X-top_gnd*2, y_size=P_Y-top_gnd*2)
  Rectangle6.subtract(Rectangle7)
  Rectangle5_3.unite(Rectangle6)
  Rectangle10 = rectangle(corner=(P_X/2-bottom_patch_x, P_Y/2-bottom_patch_y, -MIDDLE_THICK/2-bottom_high+BOTTOM_THICK), x_size=bottom_patch_x, y_size=bottom_patch_y)
  Rectangle5_5 = Rectangle10.duplicate_mirror(point=(0cm, 0cm, 0cm), normal=(0cm, -1cm, 0cm))
  Rectangle5_6 = Rectangle10.duplicate_mirror(point=(0cm, 0cm, 0cm), normal=(-1cm, 0cm, 0cm))
  Rectangle5_1_2 = Rectangle5_5.duplicate_mirror(point=(0cm, 0cm, 0cm), normal=(-1cm, 0cm, 0cm))
  Rectangle10.unite(Rectangle5_5, Rectangle5_1_2, Rectangle5_6)
  Rectangle5_4 = Rectangle10.duplicate_along_line(step=(0cm, 0cm, -0.05cm), total=2)
  Rectangle10.delete()
  Rectangle11 = rectangle(corner=(-P_X/2, -P_Y/2, -MIDDLE_THICK/2-bottom_high), x_size=P_X, y_size=P_Y)
  Rectangle12 = rectangle(corner=(-(P_X-bottom_gnd*2)/2, -(P_Y-bottom_gnd*2)/2, -MIDDLE_THICK/2-bottom_high), x_size=P_X-bottom_gnd*2, y_size=P_Y-bottom_gnd*2)
  Rectangle11.subtract(Rectangle12)
  Rectangle5_4.unite(Rectangle11)
  Rectangle13 = rectangle(corner=(P_X/2-bottom_patch_x, P_Y/2-bottom_patch_y, -MIDDLE_THICK/2-bottom_high-BOTTOM_THICK), x_size=bottom_patch_x, y_size=bottom_patch_y)
  Rectangle5_7 = Rectangle13.duplicate_mirror(point=(0cm, 0cm, 0cm), normal=(0cm, -1cm, 0cm))
  Rectangle5_8 = Rectangle13.duplicate_mirror(point=(0cm, 0cm, 0cm), normal=(-1cm, 0cm, 0cm))
  Rectangle5_1_3 = Rectangle5_7.duplicate_mirror(point=(0cm, 0cm, 0cm), normal=(-1cm, 0cm, 0cm))
  Rectangle13.unite(Rectangle5_7, Rectangle5_1_3, Rectangle5_8)
  Rectangle14 = rectangle(corner=(-bottom_line_x/2, bottom_rcl_length/2, -MIDDLE_THICK/2-bottom_high-BOTTOM_THICK), x_size=bottom_line_x, y_size=bottom_line_y)
  Rectangle14_1 = Rectangle14.duplicate_mirror(point=(0cm, 0cm, 0cm), normal=(0cm, -1cm, 0cm))
  Rectangle15 = rectangle(corner=(-MIDDLE_RCL_WIDTH/2, PATCH_MIDDLE_Y/2, -MIDDLE_THICK/2), x_size=MIDDLE_RCL_WIDTH, y_size=MIDDLE_RCL_LENGTH)
  Rectangle16 = rectangle(corner=(-MIDDLE_RCL_WIDTH/2, PATCH_MIDDLE_Y/2+MIDDLE_RCL_LENGTH, -MIDDLE_THICK/2), x_size=MIDDLE_RCL_WIDTH, y_size=P_Y/2-PATCH_MIDDLE_Y/2-MIDDLE_RCL_LENGTH-MIDDLE_GND)
  Rectangle17 = rectangle(corner=(-MIDDLE_RCL_WIDTH/2, -PATCH_MIDDLE_Y/2, -MIDDLE_THICK/2), x_size=MIDDLE_RCL_WIDTH, y_size=-MIDDLE_RCL_LENGTH)
  Rectangle16_1 = Rectangle16.duplicate_mirror(point=(0cm, 0cm, 0cm), normal=(0cm, -1cm, 0cm))
  Rectangle18 = rectangle(corner=(-top_rcl_width/2, 0cm, MIDDLE_THICK/2+top_high+TOP_THICK), x_size=top_rcl_width, y_size=top_rcl_length/2)
  Rectangle18_1 = Rectangle18.duplicate_mirror(point=(0cm, 0cm, 0cm), normal=(0cm, -1cm, 0cm))
  Rectangle18_2 = Rectangle18.duplicate_mirror(point=(0cm, 0cm, 0cm), normal=(0cm, 0cm, -1cm))
  Rectangle18_1_1 = Rectangle18_1.duplicate_mirror(point=(0cm, 0cm, 0cm), normal=(0cm, 0cm, -1cm))
  Region [vacuum] = region(absolute_offset: +X=0cm, -X=0cm, +Y=0cm, -Y=0cm, +Z=6cm, -Z=6cm)
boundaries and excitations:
  PerfE1: Perfect E Objects=[Rectangle14_1, Rectangle1, Rectangle2, Rectangle4, Rectangle4_1, Rectangle5, Rectangle5_3, Rectangle5_4, Rectangle13, Rectangle14]
  LumpRLC1: Lumped RLC Objects=Rectangle18_1 CurrentLine{middle of Rectangle18_1.edge(3 of 4) -> middle of Rectangle18_1.edge(1 of 4)} RLC_Type=Parallel Resistance=R_TOP Capacitance=C_TOP
  LumpRLC2: Lumped RLC Objects=Rectangle18 CurrentLine{middle of Rectangle18.edge(y at corner) -> middle of Rectangle18.edge(y opposite corner)} RLC_Type=Parallel Inductance=L_TOP
  LumpRLC3: Lumped RLC Objects=Rectangle18_1_1 CurrentLine{middle of Rectangle18_1_1.edge(3 of 4) -> middle of Rectangle18_1_1.edge(1 of 4)} RLC_Type=Parallel Resistance=R_BOTTOM Capacitance=C_BOTTOM
  LumpRLC4: Lumped RLC Objects=Rectangle18_2 CurrentLine{middle of Rectangle18_2.edge(1 of 4) -> middle of Rectangle18_2.edge(3 of 4)} RLC_Type=Parallel Inductance=L_BOTTOM
  LumpRLC5: Lumped RLC Objects=Rectangle15 CurrentLine{middle of Rectangle15.edge(y at corner) -> middle of Rectangle15.edge(y opposite corner)} RLC_Type=Parallel Resistance=R_MIDDLE Inductance=L_MIDDLE Capacitance=C_MIDDLE
  LumpRLC6: Lumped RLC Objects=Rectangle17 CurrentLine{middle of Rectangle17.edge(y at corner) -> middle of Rectangle17.edge(y opposite corner)} RLC_Type=Parallel Resistance=R_MIDDLE Inductance=L_MIDDLE Capacitance=C_MIDDLE
  PerfE2: Perfect E Objects=[Rectangle16, Rectangle16_1]
  Primary1: Primary Faces=Region.face(+y) CoordSysVector{Region.vertex(3 of 8) -> Region.vertex(2 of 8)} ReverseV
  Secondary1: Secondary Faces=Region.face(-y) CoordSysVector{Region.vertex(4 of 8) -> Region.vertex(1 of 8)} primary=Primary1 PhaseDelay=UseScanAngle Phi=0deg Theta=0deg
  Primary2: Primary Faces=Region.face(+x) CoordSysVector{Region.vertex(1 of 8) -> Region.vertex(2 of 8)}
  Secondary2: Secondary Faces=Region.face(-x) CoordSysVector{Region.vertex(4 of 8) -> Region.vertex(3 of 8)} ReverseV primary=Primary2 PhaseDelay=UseScanAngle Phi=0deg Theta=0deg
  FloquetPort1: Floquet Port Faces=Region.face(+z) NumModes=2 DeembedDist=6cm Modes{Mode1{CharImp=Zpi} Mode2{CharImp=Zpi}} PhaseDelay=UseScanAngle Phi=0deg Theta=0deg LatticeAVector{Region.vertex(4 of 8) -> Region.vertex(1 of 8)} LatticeBVector{Region.vertex(4 of 8) -> Region.vertex(3 of 8)} ModesList{Mode{ModeNumber=1 IndexM=0 IndexN=0 KC2=0 PropagationState=Propagating Attenuation=0 PolarizationState=TE AffectsRefinement} Mode{ModeNumber=2 IndexM=0 IndexN=0 KC2=0 PropagationState=Propagating Attenuation=0 PolarizationState=TM AffectsRefinement}}
  FloquetPort2: Floquet Port Faces=Region.face(-z) NumModes=2 DeembedDist=6cm Modes{Mode1{CharImp=Zpi} Mode2{CharImp=Zpi}} PhaseDelay=UseScanAngle Phi=0deg Theta=0deg LatticeAVector{Region.vertex(7 of 8) -> Region.vertex(6 of 8)} LatticeBVector{Region.vertex(7 of 8) -> Region.vertex(8 of 8)} ModesList{Mode{ModeNumber=1 IndexM=0 IndexN=0 KC2=0 PropagationState=Propagating Attenuation=0 PolarizationState=TE AffectsRefinement} Mode{ModeNumber=2 IndexM=0 IndexN=0 KC2=0 PropagationState=Propagating Attenuation=0 PolarizationState=TM AffectsRefinement}}
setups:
  Setup1: HfssDrivenAuto AutoSolverSetting=Balanced SaveAnyFields=false Type=Interpolating
    sweep Sweep: 1GHz to 10GHz step 0.02GHz;
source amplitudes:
  FloquetPort1:1: 1W 0deg
  FloquetPort1:2, FloquetPort2:1, FloquetPort2:2: 0W 0deg
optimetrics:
  ParametricSetup1: Parametric Sim._Setups=[Setup1]
    sweep R_MIDDLE: 0.7ohm 1.41ohm
    sweep L_MIDDLE: 1.61nH 1.39nH
    sweep C_MIDDLE: 0pF 0.41pF
    sweep C_TOP: 0pF 0.2pF
    sweep C_BOTTOM: 0pF 0.2pF
    sweep R_TOP: 1ohm 3000ohm
    sweep R_BOTTOM: 1ohm 3000ohm
    table edits: del(1.41ohm, 1.61nH, 0.41pF, 0.2pF, 0.2pF, 3000ohm, 3000ohm) del(1.41ohm, 1.61nH, 0.41pF, 0.2pF, 0.2pF, 3000ohm, 1ohm) del(1.41ohm, 1.61nH, 0.41pF, 0.2pF, 0.2pF, 1ohm, 3000ohm) del(1.41ohm, 1.61nH, 0.41pF, 0.2pF, 0.2pF, 1ohm, 1ohm) del(1.41ohm, 1.61nH, 0.41pF, 0.2pF, 0pF, 3000ohm, 3000ohm) del(1.41ohm, 1.61nH, 0.41pF, 0.2pF, 0pF, 3000ohm, 1ohm) del(1.41ohm, 1.61nH, 0.41pF, 0.2pF, 0pF, 1ohm, 3000ohm) del(1.41ohm, 1.61nH, 0.41pF, 0.2pF, 0pF, 1ohm, 1ohm) del(1.41ohm, 1.61nH, 0.41pF, 0pF, 0.2pF, 3000ohm, 3000ohm) del(1.41ohm, 1.61nH, 0.41pF, 0pF, 0.2pF, 3000ohm, 1ohm) del(1.41ohm, 1.61nH, 0.41pF, 0pF, 0.2pF, 1ohm, 3000ohm) del(1.41ohm, 1.61nH, 0.41pF, 0pF, 0.2pF, 1ohm, 1ohm) del(1.41ohm, 1.61nH, 0.41pF, 0pF, 0pF, 3000ohm, 3000ohm) del(1.41ohm, 1.61nH, 0.41pF, 0pF, 0pF, 3000ohm, 1ohm) del(1.41ohm, 1.61nH, 0.41pF, 0pF, 0pF, 1ohm, 3000ohm) del(1.41ohm, 1.61nH, 0.41pF, 0pF, 0pF, 1ohm, 1ohm) del(1.41ohm, 1.61nH, 0pF, 0.2pF, 0.2pF, 3000ohm, 3000ohm) del(1.41ohm, 1.61nH, 0pF, 0.2pF, 0.2pF, 3000ohm, 1ohm) del(1.41ohm, 1.61nH, 0pF, 0.2pF, 0.2pF, 1ohm, 3000ohm) del(1.41ohm, 1.61nH, 0pF, 0.2pF, 0.2pF, 1ohm, 1ohm) del(1.41ohm, 1.61nH, 0pF, 0.2pF, 0pF, 3000ohm, 3000ohm) del(1.41ohm, 1.61nH, 0pF, 0.2pF, 0pF, 3000ohm, 1ohm) del(1.41ohm, 1.61nH, 0pF, 0.2pF, 0pF, 1ohm, 3000ohm) del(1.41ohm, 1.61nH, 0pF, 0.2pF, 0pF, 1ohm, 1ohm) del(1.41ohm, 1.61nH, 0pF, 0pF, 0.2pF, 3000ohm, 3000ohm) del(1.41ohm, 1.61nH, 0pF, 0pF, 0.2pF, 3000ohm, 1ohm) del(1.41ohm, 1.61nH, 0pF, 0pF, 0.2pF, 1ohm, 3000ohm) del(1.41ohm, 1.61nH, 0pF, 0pF, 0.2pF, 1ohm, 1ohm) del(1.41ohm, 1.61nH, 0pF, 0pF, 0pF, 3000ohm, 3000ohm) del(1.41ohm, 1.61nH, 0pF, 0pF, 0pF, 3000ohm, 1ohm) del(1.41ohm, 1.61nH, 0pF, 0pF, 0pF, 1ohm, 3000ohm) del(1.41ohm, 1.61nH, 0pF, 0pF, 0pF, 1ohm, 1ohm) del(0.7ohm, 1.39nH, 0.41pF, 0.2pF, 0.2pF, 3000ohm, 3000ohm) del(0.7ohm, 1.39nH, 0.41pF, 0.2pF, 0.2pF, 3000ohm, 1ohm) del(0.7ohm, 1.39nH, 0.41pF, 0.2pF, 0.2pF, 1ohm, 3000ohm) del(0.7ohm, 1.39nH, 0.41pF, 0.2pF, 0.2pF, 1ohm, 1ohm) del(0.7ohm, 1.39nH, 0.41pF, 0.2pF, 0pF, 3000ohm, 3000ohm) del(0.7ohm, 1.39nH, 0.41pF, 0.2pF, 0pF, 3000ohm, 1ohm) del(0.7ohm, 1.39nH, 0.41pF, 0.2pF, 0pF, 1ohm, 3000ohm) del(0.7ohm, 1.39nH, 0.41pF, 0.2pF, 0pF, 1ohm, 1ohm) del(0.7ohm, 1.39nH, 0.41pF, 0pF, 0.2pF, 3000ohm, 3000ohm) del(0.7ohm, 1.39nH, 0.41pF, 0pF, 0.2pF, 3000ohm, 1ohm) del(0.7ohm, 1.39nH, 0.41pF, 0pF, 0.2pF, 1ohm, 3000ohm) del(0.7ohm, 1.39nH, 0.41pF, 0pF, 0.2pF, 1ohm, 1ohm) del(0.7ohm, 1.39nH, 0.41pF, 0pF, 0pF, 3000ohm, 3000ohm) del(0.7ohm, 1.39nH, 0.41pF, 0pF, 0pF, 3000ohm, 1ohm) del(0.7ohm, 1.39nH, 0.41pF, 0pF, 0pF, 1ohm, 3000ohm) del(0.7ohm, 1.39nH, 0.41pF, 0pF, 0pF, 1ohm, 1ohm) del(0.7ohm, 1.39nH, 0pF, 0.2pF, 0.2pF, 3000ohm, 3000ohm) del(0.7ohm, 1.39nH, 0pF, 0.2pF, 0.2pF, 3000ohm, 1ohm) del(0.7ohm, 1.39nH, 0pF, 0.2pF, 0.2pF, 1ohm, 3000ohm) del(0.7ohm, 1.39nH, 0pF, 0.2pF, 0.2pF, 1ohm, 1ohm) del(0.7ohm, 1.39nH, 0pF, 0.2pF, 0pF, 3000ohm, 3000ohm) del(0.7ohm, 1.39nH, 0pF, 0.2pF, 0pF, 3000ohm, 1ohm) del(0.7ohm, 1.39nH, 0pF, 0.2pF, 0pF, 1ohm, 3000ohm) del(0.7ohm, 1.39nH, 0pF, 0.2pF, 0pF, 1ohm, 1ohm) del(0.7ohm, 1.39nH, 0pF, 0pF, 0.2pF, 3000ohm, 3000ohm) del(0.7ohm, 1.39nH, 0pF, 0pF, 0.2pF, 3000ohm, 1ohm) del(0.7ohm, 1.39nH, 0pF, 0pF, 0.2pF, 1ohm, 3000ohm) del(0.7ohm, 1.39nH, 0pF, 0pF, 0.2pF, 1ohm, 1ohm)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
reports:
  S Parameter Plot 1: mag(S(FloquetPort1:1,FloquetPort2:1)) vs Freq on Setup1 : Sweep; markers MX1 at x=6e+09
  S Parameter Plot 2: ang_deg(S(FloquetPort1:1,FloquetPort2:1)) vs Freq on Setup1 : Sweep
  S Parameter Plot 3: mag(S(FloquetPort1:1,FloquetPort1:1)) vs Freq on Setup1 : Sweep
  S Parameter Plot 4: ang_deg(S(FloquetPort1:1,FloquetPort1:1)) vs Freq on Setup1 : Sweep
